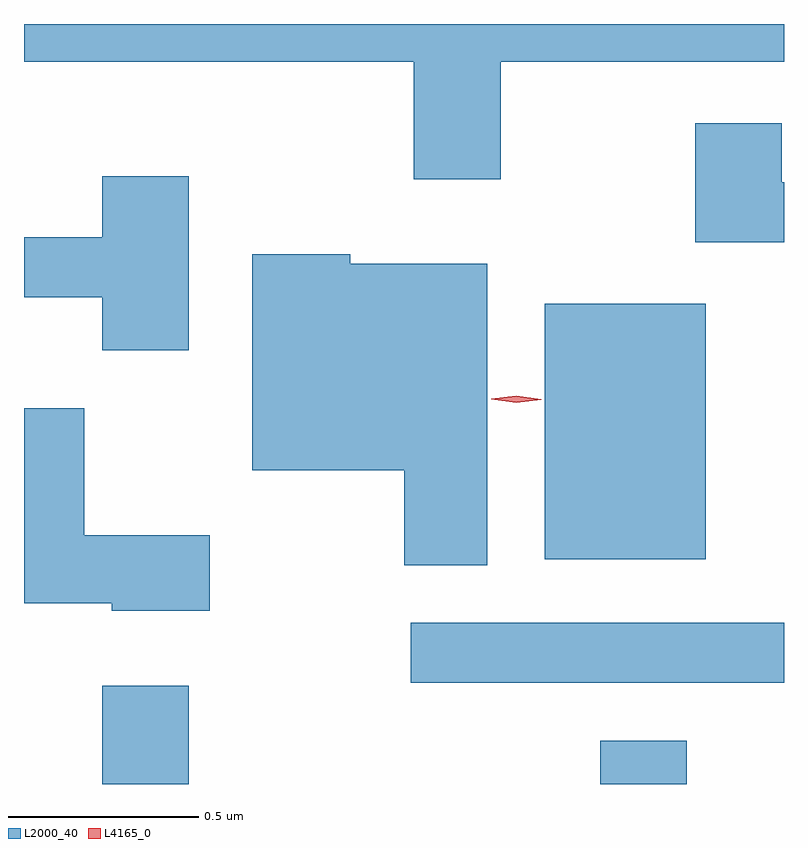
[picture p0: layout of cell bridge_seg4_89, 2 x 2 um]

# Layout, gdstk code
import gdstk
lib = gdstk.Library(unit=1e-6, precision=1e-09)
def R(c, l, rs):  # rectangles x0, y0, x1, y1
    for r in rs: c.add(gdstk.rectangle(r[:2], r[2:], *l))
def P(c, l, *ps):  # polygons
    for p in ps: c.add(gdstk.Polygon(p, *l))
L2000_40 = (2000, 40)
L4165_0 = (4165, 0)

bridge_seg4_89 = lib.new_cell('bridge_seg4_89')
R(bridge_seg4_89, L2000_40, [(1108.421,1339.455,1108.649,1339.714), (1109.731,1339.455,1109.959,1339.569), (1109.233,1339.721,1110.215,1339.879), (1109.586,1340.046,1110.009,1340.719)])
P(bridge_seg4_89, L2000_40, [(1109.469,1341.356),(1110.215,1341.356),(1110.215,1341.455),(1108.215,1341.455),(1108.215,1341.356),(1109.241,1341.356),(1109.241,1341.046),(1109.469,1341.046)],
  [(1110.215,1341.039),(1110.209,1341.039),(1110.209,1341.194),(1109.981,1341.194),(1109.981,1340.881),(1110.215,1340.881)],
  [(1108.649,1341.054),(1108.421,1341.054),(1108.421,1340.894),(1108.215,1340.894),(1108.215,1340.736),(1108.421,1340.736),(1108.421,1340.596),(1108.649,1340.596)],
  [(1109.434,1340.824),(1109.074,1340.824),(1109.074,1340.849),(1108.816,1340.849),(1108.816,1340.281),(1109.216,1340.281),(1109.216,1340.031),(1109.434,1340.031)],
  [(1108.704,1340.109),(1108.374,1340.109),(1108.374,1340.444),(1108.215,1340.444),(1108.215,1339.931),(1108.446,1339.931),(1108.446,1339.911),(1108.704,1339.911)])
P(bridge_seg4_89, L4165_0, [(1109.51,1340.458),(1109.444,1340.468),(1109.444,1340.468),(1109.444,1340.469),(1109.51,1340.477),(1109.576,1340.467),(1109.576,1340.467),(1109.576,1340.466)])

lib.write_gds('bridge_seg4_89.gds')
